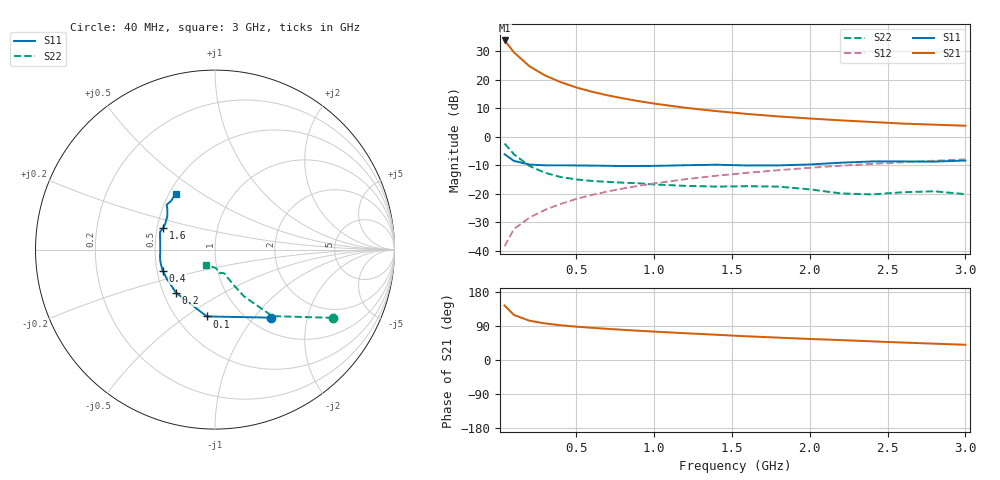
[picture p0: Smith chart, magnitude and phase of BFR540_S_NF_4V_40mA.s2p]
! Filename:  BFR540E.S2P  Version:  3.0
! Philips part #: BFR540  Date: Feb 1992
! Bias condition: Vce=4V, Ic=40mA
#  MHz  S  MA  R  50
! Freq  S11  S21  S12  S22  !GUM [dB]
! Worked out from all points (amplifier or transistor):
!   21 points, 40 MHz to 3 GHz, reference 50 ohm
!   highest |S21| = 33.7 dB at 40 MHz (marker M1)
!   |S21| within 3 dB of that: start of sweep to 83.16 MHz
!   unconditionally stable (mu >= 1): 592.9 MHz to 2.827 GHz
!   at 300 MHz: K = 0.93, MSG = 23.6 dB, |S12| = -25.7 dB
!   at 1 GHz: K = 1.03, MAG = 13.0 dB, |S12| = -16.4 dB
!   at 3 GHz: K = 0.99, MSG = 5.9 dB, |S12| = -8.0 dB
!   lowest NFmin = 1.90 dB at 900 MHz
!   S11 on the Smith chart (normalised r, x): 40 MHz: 1.23, -1.22; 100 MHz: 0.70, -0.60; 200 MHz: 0.58, -0.31; 400 MHz: 0.54, -0.14; 1.6 GHz: 0.54, +0.14; 3 GHz: 0.54, +0.39
40  0.49 -50.7  48.57 143.6  0.012 72.1  0.758 -30.1
100  0.375 -97.0  30.05 118.9  0.024 66.5  0.489 -49.3
200  0.324 -132.0  17.09 103.7  0.038 68.3  0.305 -58.3
300  0.314 -148.3  11.82 96.5  0.052 70.7  0.232 -61.6
400  0.314 -157.9  9.023 91.7  0.066 71.9  0.196 -63.8
500  0.312 -164.6  7.289 88.0  0.081 72.7  0.178 -65.3
600  0.311 -169.2  6.14 85.0  0.095 72.8  0.167 -66.3
700  0.308 -173.8  5.307 82.2  0.109 72.8  0.161 -66.8
800  0.305 -177.9  4.694 79.6  0.123 72.5  0.156 -66.8
900  0.306 177.7  4.197 77.2  0.137 72.1  0.152 -67.0
1000  0.307 173.5  3.799 74.9  0.151 71.5  0.145 -67.9
1200  0.315 166.5  3.21 70.7  0.179 70.2  0.137 -71.7
1400  0.322 161.9  2.802 66.6  0.206 68.7  0.133 -76.3
1600  0.312 157.7  2.496 62.5  0.232 67.3  0.135 -76.7
1800  0.313 152.1  2.261 59.0  0.258 65.7  0.133 -78.8
2000  0.325 144.7  2.079 55.5  0.284 63.9  0.119 -80.9
2200  0.349 139.5  1.928 52.6  0.309 62.5  0.101 -88.9
2400  0.367 137.2  1.806 49.2  0.333 60.5  0.097 -103.2
2600  0.367 136.0  1.691 46.0  0.354 58.7  0.106 -113.4
2800  0.365 132.0  1.621 43.1  0.378 57.0  0.11 -116.3
3000  0.381 125.1  1.553 40.2  0.4 55.2  0.098 -120.8
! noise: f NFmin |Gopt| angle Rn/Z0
900  1.9  0.279  180  0.13
2000  2.6  0.429  -140  0.22
